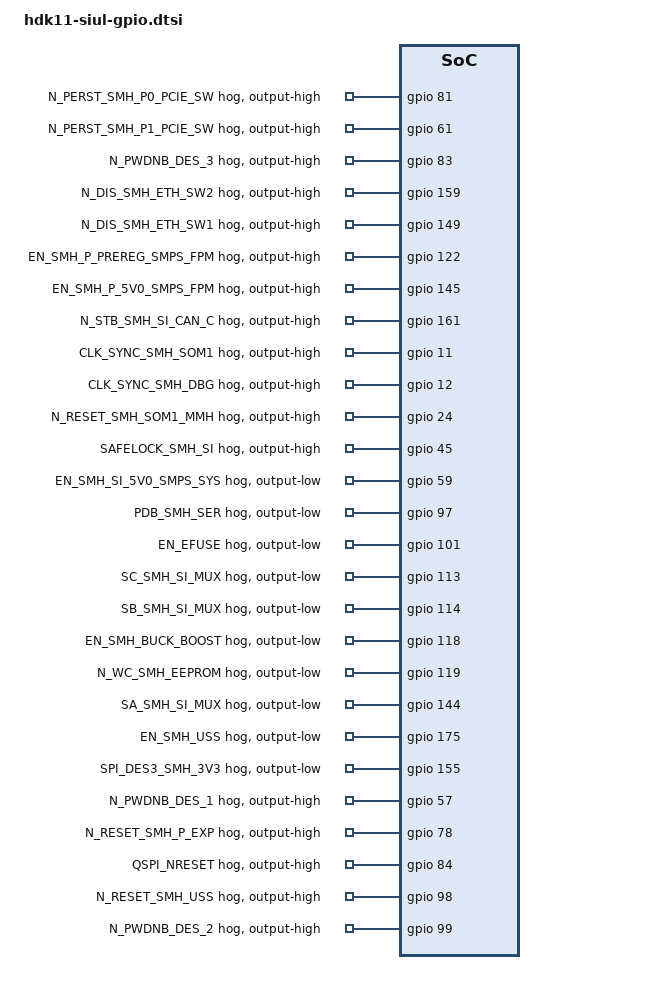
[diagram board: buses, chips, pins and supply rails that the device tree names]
#include <dt-bindings/gpio/gpio.h>

&gpio {
	N_PERST_SMH_P0_PCIE_SW {
		gpio-hog;
		gpios = <81 GPIO_ACTIVE_HIGH>;
		output-high;
		line-name = "N_PERST_SMH_P0_PCIE_SW";
	};

	N_PERST_SMH_P1_PCIE_SW {
		gpio-hog;
		gpios = <61 GPIO_ACTIVE_HIGH>;
		output-high;
		line-name = "N_PERST_SMH_P1_PCIE_SW";
	};
	
	N_PWDNB_DES_3 {
		gpio-hog;
		gpios = <83 GPIO_ACTIVE_HIGH>;
		output-high;
		line-name = "N_PWDNB_DES_3";
	};

	/* N_RESET_SMH_SOM2_MMH { */
	/* 	gpio-hog; */
	/* 	gpios = <121 GPIO_ACTIVE_HIGH>; */
	/* 	output-high; */
	/* 	line-name = "N_RESET_SMH_SOM2_MMH"; */
	/* }; */

	N_DIS_SMH_ETH_SW2 {
		gpio-hog;
		gpios = <159 GPIO_ACTIVE_HIGH>;
		output-high;
		line-name = "N_DIS_SMH_ETH_SW2";
	};

	N_DIS_SMH_ETH_SW1 {
		gpio-hog;
		gpios = <149 GPIO_ACTIVE_HIGH>;
		output-high;
		line-name = "N_DIS_SMH_ETH_SW1";
	};

	/* PWM_SMH_P_FAN { */
	/* 	gpio-hog; */
	/* 	gpios = <116 GPIO_ACTIVE_HIGH>; */
	/* 	output-high; */
	/* 	line-name = "PWM_SMH_P_FAN"; */
	/* }; */

	EN_SMH_P_PREREG_SMPS_FPM {
		gpio-hog;
		gpios = <122 GPIO_ACTIVE_HIGH>;
		output-high;
		line-name = "EN_SMH_P_PREREG_SMPS_FPM";
	};

	EN_SMH_P_5V0_SMPS_FPM {
		gpio-hog;
		gpios = <145 GPIO_ACTIVE_HIGH>;
		output-high;
		line-name = "EN_SMH_P_5V0_SMPS_FPM";
	};

	N_STB_SMH_SI_CAN_C {
		gpio-hog;
		gpios = <161 GPIO_ACTIVE_HIGH>;
		output-high;
		line-name = "N_STB_SMH_SI_CAN_C";
	};

	CLK_SYNC_SMH_SOM1 {
		gpio-hog;
		gpios = <11 GPIO_ACTIVE_HIGH>;
		output-high;
		line-name = "CLK_SYNC_SMH_SOM1";
	};

	CLK_SYNC_SMH_DBG {
		gpio-hog;
		gpios = <12 GPIO_ACTIVE_HIGH>;
		output-high;
		line-name = "CLK_SYNC_SMH_DBG";
	};

	N_RESET_SMH_SOM1_MMH {
		gpio-hog;
		gpios = <24 GPIO_ACTIVE_HIGH>;
		output-high;
		line-name = "N_RESET_SMH_SOM1_MMH";
	};

	SAFELOCK_SMH_SI {
		gpio-hog;
		gpios = <45 GPIO_ACTIVE_HIGH>;
		output-high;
		line-name = "SAFELOCK_SMH_SI";
	};

	EN_SMH_SI_5V0_SMPS_SYS {
		gpio-hog;
		gpios = <59 GPIO_ACTIVE_HIGH>;
		output-low;
		line-name = "EN_SMH_SI_5V0_SMPS_SYS";
	};

	PDB_SMH_SER {
		gpio-hog;
		gpios = <97 GPIO_ACTIVE_HIGH>;
		output-low;
		line-name = "PDB_SMH_SER";
	};

	EN_EFUSE {
		gpio-hog;
		gpios = <101 GPIO_ACTIVE_HIGH>;
		output-low;
		line-name = "EN_EFUSE";
	};

	SC_SMH_SI_MUX {
		gpio-hog;
		gpios = <113 GPIO_ACTIVE_HIGH>;
		output-low;
		line-name = "SC_SMH_SI_MUX";
	};

	SB_SMH_SI_MUX {
		gpio-hog;
		gpios = <114 GPIO_ACTIVE_HIGH>;
		output-low;
		line-name = "SB_SMH_SI_MUX";
	};

	EN_SMH_BUCK_BOOST {
		gpio-hog;
		gpios = <118 GPIO_ACTIVE_HIGH>;
		output-low;
		line-name = "EN_SMH_BUCK_BOOST";
	};

	N_WC_SMH_EEPROM {
		gpio-hog;
		gpios = <119 GPIO_ACTIVE_HIGH>;
		output-low;
		line-name = "N_WC_SMH_EEPROM";
	};

	SA_SMH_SI_MUX {
		gpio-hog;
		gpios = <144 GPIO_ACTIVE_HIGH>;
		output-low;
		line-name = "SA_SMH_SI_MUX";
	};

	EN_SMH_USS {
		gpio-hog;
		gpios = <175 GPIO_ACTIVE_HIGH>;
		output-low;
		line-name = "EN_SMH_USS";
	};

	SPI_DES3_SMH_3V3 {
		gpio-hog;
		gpios = <155 GPIO_ACTIVE_HIGH>;
		output-low;
		line-name = "SPI_DES3_SMH_3V3";
	};

	N_PWDNB_DES_1 {
		gpio-hog;
		gpios = <57 GPIO_ACTIVE_HIGH>;
		output-high;
		line-name = "N_PWDNB_DES_1";
	};

	N_RESET_SMH_P_EXP {
		gpio-hog;
		gpios = <78 GPIO_ACTIVE_HIGH>;
		output-high;
		line-name = "N_RESET_SMH_P_EXP";
	};

	QSPI_NRESET {
		gpio-hog;
		gpios = <84 GPIO_ACTIVE_HIGH>;
		output-high;
		line-name = "QSPI_NRESET";
	};

	N_RESET_SMH_USS {
		gpio-hog;
		gpios = <98 GPIO_ACTIVE_HIGH>;
		output-high;
		line-name = "N_RESET_SMH_USS";
	};

	N_PWDNB_DES_2 {
		gpio-hog;
		gpios = <99 GPIO_ACTIVE_HIGH>;
		output-high;
		line-name = "N_PWDNB_DES_2";
	};
};
